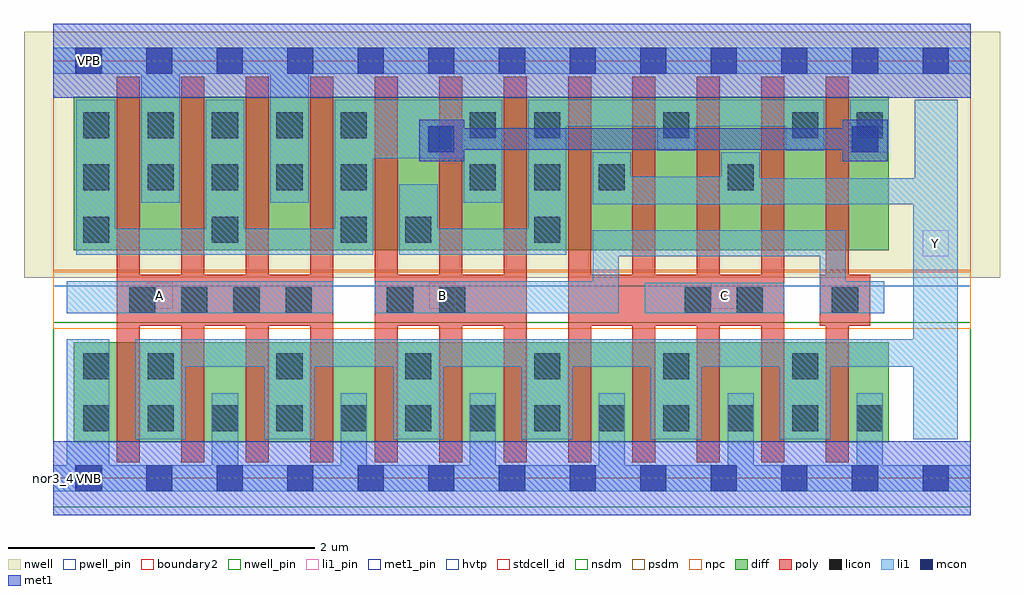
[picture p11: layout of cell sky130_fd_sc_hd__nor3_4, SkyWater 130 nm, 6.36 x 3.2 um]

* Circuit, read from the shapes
.subckt sky130_fd_sc_hd__nor3_4 A B C VGND VNB VPB VPWR Y
XM1 Y A VGND VNB sky130_fd_pr__nfet_01v8 w=0.65 l=0.15 m=4
XM2 Y B VGND VNB sky130_fd_pr__nfet_01v8 w=0.65 l=0.15 m=4
XM3 VGND C Y VNB sky130_fd_pr__nfet_01v8 w=0.65 l=0.15 m=4
XM4 VPWR A n1 VPB sky130_fd_pr__pfet_01v8_hvt w=1 l=0.15 m=4
XM5 n2 B n1 VPB sky130_fd_pr__pfet_01v8_hvt w=1 l=0.15 m=4
XM6 Y C n2 VPB sky130_fd_pr__pfet_01v8_hvt w=1 l=0.15 m=4
.ends

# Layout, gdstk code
import gdstk
lib = gdstk.Library(unit=1e-6, precision=1e-09)
def R(c, l, rs):  # rectangles x0, y0, x1, y1
    for r in rs: c.add(gdstk.rectangle(r[:2], r[2:], *l))
def A(c, l, x, y, w, h, nx, ny, dx, dy):  # array of equal rectangles
    R(c, l, [(x+i*dx, y+j*dy, x+i*dx+w, y+j*dy+h) for i in range(nx) for j in range(ny)])
def P(c, l, *ps):  # polygons
    for p in ps: c.add(gdstk.Polygon(p, *l))
nwell_pin = (64, 16)
nwell = (64, 20)
diff = (65, 20)
poly = (66, 20)
licon = (66, 44)
li1_pin = (67, 16)
li1 = (67, 20)
mcon = (67, 44)
met1_pin = (68, 16)
met1 = (68, 20)
hvtp = (78, 44)
stdcell_id = (81, 4)
nsdm = (93, 44)
psdm = (94, 20)
npc = (95, 20)
pwell_pin = (122, 16)
boundary2 = (236, 0)

sky130_fd_sc_hd__nor3_4 = lib.new_cell('sky130_fd_sc_hd__nor3_4')
R(sky130_fd_sc_hd__nor3_4, nwell_pin, [(0.15,2.635,0.32,2.805)])
R(sky130_fd_sc_hd__nor3_4, nwell, [(-0.19,1.305,6.17,2.91)])
R(sky130_fd_sc_hd__nor3_4, diff, [(0.135,0.235,5.445,0.885), (0.135,1.485,5.445,2.485)])
P(sky130_fd_sc_hd__nor3_4, poly, [(5.035,0.105),(5.035,0.995),(4.995,0.995),(4.995,1.325),(5.035,1.325),(5.035,2.615),(5.185,2.615),(5.185,1.325),(5.325,1.325),(5.325,0.995),(5.185,0.995),(5.185,0.105)],
  [(3.355,0.105),(3.355,2.615),(3.505,2.615),(3.505,1.325),(3.775,1.325),(3.775,2.615),(3.925,2.615),(3.925,1.325),(4.195,1.325),(4.195,2.615),(4.345,2.615),(4.345,1.325),(4.615,1.325),(4.615,2.615),(4.765,2.615),(4.765,0.105),(4.615,0.105),(4.615,0.995),(4.345,0.995),(4.345,0.105),(4.195,0.105),(4.195,0.995),(3.925,0.995),(3.925,0.105),(3.775,0.105),(3.775,0.995),(3.505,0.995),(3.505,0.105)],
  [(2.095,0.105),(2.095,2.615),(2.245,2.615),(2.245,1.325),(2.515,1.325),(2.515,2.615),(2.665,2.615),(2.665,1.325),(2.935,1.325),(2.935,2.615),(3.085,2.615),(3.085,0.105),(2.935,0.105),(2.935,0.995),(2.665,0.995),(2.665,0.105),(2.515,0.105),(2.515,0.995),(2.245,0.995),(2.245,0.105)],
  [(0.415,0.105),(0.415,2.615),(0.565,2.615),(0.565,1.325),(0.835,1.325),(0.835,2.615),(0.985,2.615),(0.985,1.325),(1.255,1.325),(1.255,2.615),(1.405,2.615),(1.405,1.325),(1.675,1.325),(1.675,2.615),(1.825,2.615),(1.825,0.105),(1.675,0.105),(1.675,0.995),(1.405,0.995),(1.405,0.105),(1.255,0.105),(1.255,0.995),(0.985,0.995),(0.985,0.105),(0.835,0.105),(0.835,0.995),(0.565,0.995),(0.565,0.105)])
A(sky130_fd_sc_hd__nor3_4, licon, 0.195, 0.305, 0.17, 0.17, 13, 1, 0.42, 0)
A(sky130_fd_sc_hd__nor3_4, licon, 0.615, 0.645, 0.17, 0.17, 6, 1, 0.84, 0)
A(sky130_fd_sc_hd__nor3_4, licon, 0.495, 1.075, 0.17, 0.17, 4, 1, 0.34, 0)
A(sky130_fd_sc_hd__nor3_4, licon, 0.195, 1.535, 0.17, 0.17, 3, 1, 0.84, 0)
A(sky130_fd_sc_hd__nor3_4, licon, 0.195, 1.875, 0.17, 0.17, 5, 2, 0.42, 0.34)
A(sky130_fd_sc_hd__nor3_4, licon, 2.715, 1.875, 0.17, 0.17, 3, 1, 0.42, 0)
A(sky130_fd_sc_hd__nor3_4, licon, 3.135, 2.215, 0.17, 0.17, 3, 1, 0.84, 0)
R(sky130_fd_sc_hd__nor3_4, licon, [(0.195,0.645,0.365,0.815), (2.175,1.075,2.345,1.245), (2.515,1.075,2.685,1.245), (4.115,1.075,4.285,1.245), (4.455,1.075,4.625,1.245), (5.075,1.075,5.245,1.245), (2.295,1.535,2.465,1.705), (3.135,1.535,3.305,1.705), (4.395,1.875,4.565,2.045), (2.715,2.215,2.885,2.385), (5.235,2.215,5.405,2.385)])
A(sky130_fd_sc_hd__nor3_4, li1_pin, 0.61, 1.105, 0.17, 0.17, 3, 1, 1.84, 0)
R(sky130_fd_sc_hd__nor3_4, li1_pin, [(5.665,1.445,5.835,1.615)])
R(sky130_fd_sc_hd__nor3_4, li1, [(0.09,1.075,1.825,1.285), (3.855,1.075,4.765,1.275), (5.195,2.125,5.445,2.465)])
P(sky130_fd_sc_hd__nor3_4, li1, [(0,-0.085),(0,0.085),(0.09,0.085),(0.09,0.905),(0.365,0.905),(0.365,0.085),(1.035,0.085),(1.035,0.555),(1.205,0.555),(1.205,0.085),(1.875,0.085),(1.875,0.555),(2.045,0.555),(2.045,0.085),(2.715,0.085),(2.715,0.555),(2.885,0.555),(2.885,0.085),(3.555,0.085),(3.555,0.555),(3.725,0.555),(3.725,0.085),(4.395,0.085),(4.395,0.555),(4.565,0.555),(4.565,0.085),(5.235,0.085),(5.235,0.555),(5.405,0.555),(5.405,0.085),(5.98,0.085),(5.98,-0.085)],
  [(0.575,1.795),(0.575,2.635),(0,2.635),(0,2.805),(5.98,2.805),(5.98,2.635),(1.665,2.635),(1.665,1.795),(1.415,1.795),(1.415,2.635),(0.825,2.635),(0.825,1.795)],
  [(0.535,0.255),(0.535,0.905),(5.605,0.905),(5.605,1.785),(3.515,1.785),(3.515,2.125),(3.765,2.125),(3.765,1.965),(4.355,1.965),(4.355,2.125),(4.605,2.125),(4.605,1.955),(5.615,1.955),(5.615,2.465),(5.895,2.465),(5.895,0.255),(5.605,0.255),(5.605,0.725),(5.065,0.725),(5.065,0.255),(4.735,0.255),(4.735,0.725),(4.225,0.725),(4.225,0.255),(3.895,0.255),(3.895,0.725),(3.385,0.725),(3.385,0.255),(3.055,0.255),(3.055,0.725),(2.545,0.725),(2.545,0.255),(2.215,0.255),(2.215,0.725),(1.705,0.725),(1.705,0.255),(1.375,0.255),(1.375,0.725),(0.865,0.725),(0.865,0.255)],
  [(2.095,1.075),(2.095,1.285),(3.515,1.285),(3.515,1.615),(5.165,1.615),(5.165,1.285),(5.415,1.285),(5.415,1.075),(4.995,1.075),(4.995,1.445),(3.685,1.445),(3.685,1.075)],
  [(2.255,1.455),(2.255,1.915),(2.505,1.915),(2.505,1.625),(3.095,1.625),(3.095,2.465),(5.025,2.465),(5.025,2.135),(4.775,2.135),(4.775,2.295),(4.185,2.295),(4.185,2.135),(3.935,2.135),(3.935,2.295),(3.345,2.295),(3.345,1.455)],
  [(0.15,1.455),(0.15,2.465),(0.405,2.465),(0.405,1.625),(0.995,1.625),(0.995,2.465),(1.245,2.465),(1.245,1.625),(1.835,1.625),(1.835,2.465),(2.925,2.465),(2.925,1.795),(2.675,1.795),(2.675,2.085),(2.085,2.085),(2.085,1.455)])
A(sky130_fd_sc_hd__nor3_4, mcon, 0.145, -0.085, 0.17, 0.17, 13, 2, 0.46, 2.72)
R(sky130_fd_sc_hd__nor3_4, mcon, [(2.445,2.125,2.615,2.295), (5.205,2.125,5.375,2.295)])
R(sky130_fd_sc_hd__nor3_4, met1_pin, [(0.15,-0.085,0.32,0.085), (0.15,2.635,0.32,2.805)])
P(sky130_fd_sc_hd__nor3_4, met1, [(2.385,2.065),(2.385,2.335),(2.68,2.335),(2.68,2.28),(5.145,2.28),(5.145,2.335),(5.44,2.335),(5.44,2.065),(5.145,2.065),(5.145,2.14),(2.68,2.14),(2.68,2.065)])
R(sky130_fd_sc_hd__nor3_4, hvtp, [(0,1.25,5.98,2.72)])
R(sky130_fd_sc_hd__nor3_4, stdcell_id, [(0,0,5.98,2.72)])
R(sky130_fd_sc_hd__nor3_4, nsdm, [(0,-0.19,5.98,1.015)])
R(sky130_fd_sc_hd__nor3_4, psdm, [(0,1.355,5.98,2.91)])
R(sky130_fd_sc_hd__nor3_4, npc, [(0,0.975,5.98,1.345)])
R(sky130_fd_sc_hd__nor3_4, pwell_pin, [(0.15,-0.085,0.32,0.085)])
R(sky130_fd_sc_hd__nor3_4, boundary2, [(0,0,5.98,2.72)])
sky130_fd_sc_hd__nor3_4.add(gdstk.FlexPath([(0,2.72),(5.98,2.72)], 0.48, ends="flush", simple_path=True, layer=68, datatype=20))  # met1
sky130_fd_sc_hd__nor3_4.add(gdstk.FlexPath([(0,0),(5.98,0)], 0.48, ends="flush", simple_path=True, layer=68, datatype=20))  # met1
sky130_fd_sc_hd__nor3_4.add(gdstk.Label('A', (0.695,1.19), layer=67, texttype=5))
sky130_fd_sc_hd__nor3_4.add(gdstk.Label('C', (4.375,1.19), layer=67, texttype=5))
sky130_fd_sc_hd__nor3_4.add(gdstk.Label('B', (2.535,1.19), layer=67, texttype=5))
sky130_fd_sc_hd__nor3_4.add(gdstk.Label('Y', (5.75,1.53), layer=67, texttype=5))
sky130_fd_sc_hd__nor3_4.add(gdstk.Label('VNB', (0.235,0), layer=64, texttype=59))
sky130_fd_sc_hd__nor3_4.add(gdstk.Label('VPB', (0.235,2.72), layer=64, texttype=5))
sky130_fd_sc_hd__nor3_4.add(gdstk.Label('VGND', (0.23,0), layer=68, texttype=5))
sky130_fd_sc_hd__nor3_4.add(gdstk.Label('VPWR', (0.23,2.72), layer=68, texttype=5))
sky130_fd_sc_hd__nor3_4.add(gdstk.Label('nor3_4', (0,0), layer=83, texttype=44))

lib.write_gds('sky130_fd_sc_hd__nor3_4.gds')
